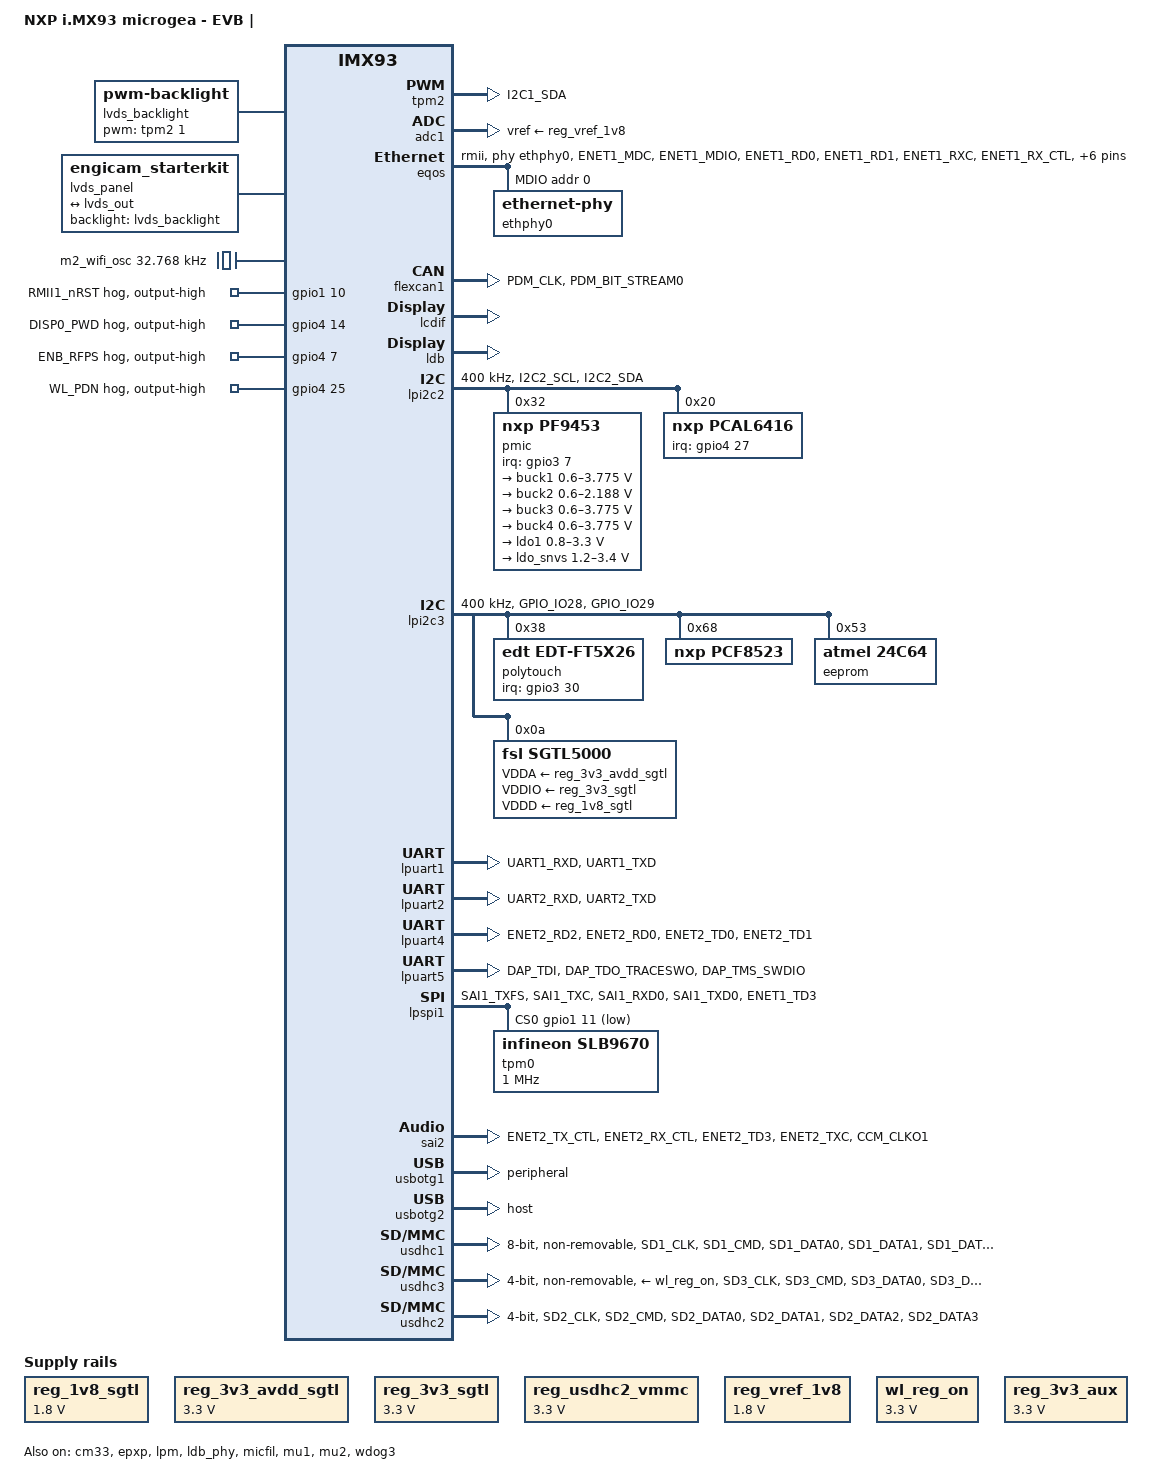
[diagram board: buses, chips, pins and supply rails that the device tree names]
// SPDX-License-Identifier: (GPL-2.0+ OR MIT)
/*
 * Copyright 2022 NXP
 */

/dts-v1/;

#include <dt-bindings/net/mxl-8611x.h>
#include <dt-bindings/usb/pd.h>
#include "../freescale/imx93.dtsi"
#include <dt-bindings/clock/imx93-clock.h>

&ele_fw2 {
	memory-region = <&ele_reserved>;
};

/ {
	model = "NXP i.MX93 microgea - EVB | ";
	compatible = "engi,imx93" ,"fsl,imx93";

	aliases {
		rtc1= &bbnsm_rtc;
	};

	chosen {
		stdout-path = &lpuart1;
	};

	ethosu {
		compatible = "arm,ethosu";
		fsl,cm33-proc = <&cm33>;
		memory-region = <&ethosu_mem>;
		power-domains = <&mlmix>;
	};

	lvds_backlight: lvds_backlight {
		compatible = "pwm-backlight";
		pwms = <&tpm2 1 100000 0>;
		brightness-levels = <0 100>;
		num-interpolated-steps = <100>;
		default-brightness-level = <80>;
	};

	lvds_panel {
		compatible = "engicam_starterkit";
		backlight = <&lvds_backlight>;

		port {
			panel_lvds_in: endpoint {
				remote-endpoint = <&lvds_out>;
			};
		};
	};

	reg_1v8_sgtl: reg_1v8_sgtl_regulator {
		compatible = "regulator-fixed";
		regulator-name = "1v8_sgtl";
		regulator-min-microvolt = <1800000>;
		regulator-max-microvolt = <1800000>;
		always-on;
	};

	reg_3v3_avdd_sgtl: reg_3v3_avdd_regulator {
		compatible = "regulator-fixed";
		regulator-name = "3v3_avdd_sgtl";
		regulator-min-microvolt = <3300000>;
		regulator-max-microvolt = <3300000>;
		always-on;
	};

	reg_3v3_sgtl: reg_3v3_sgtl_regulator {
		compatible = "regulator-fixed";
		regulator-name = "3v3_sgtl";
		regulator-min-microvolt = <3300000>;
		regulator-max-microvolt = <3300000>;
		always-on;
	};

	reg_usdhc2_vmmc: regulator-usdhc2 {
		compatible = "regulator-fixed";
		regulator-name = "VSD_3V3";
		regulator-min-microvolt = <3300000>;
		regulator-max-microvolt = <3300000>;
	};

	reg_vref_1v8: regulator-adc-vref {
		compatible = "regulator-fixed";
		regulator-name = "vref_1v8";
		regulator-min-microvolt = <1800000>;
		regulator-max-microvolt = <1800000>;
	};

	wl_reg_on: regulator-wlregon {
		compatible = "regulator-gpio";
		regulator-name = "WL_REG_ON";
		regulator-min-microvolt = <3300000>;
		regulator-max-microvolt = <3300000>;
		states = <3300000 0x1>,
				 <3300000 0x0>;
		gpios = <&gpio4 23 GPIO_ACTIVE_HIGH>;
		enable-active-high;
	};

	//wifi_pwrseq: wifi-pwrseq { /*WIFI/BT WL_REG_ON*/
    //    compatible = "mmc-pwrseq-simple";
    //    reset-gpios = <&gpio4 23 GPIO_ACTIVE_LOW>; /*EXPIO_1_1*/
    //    post-power-on-delay-ms = <500>;
    //};

	reg_3v3_aux: regulator-3v3aux {
		compatible = "regulator-gpio";
		regulator-name = "3v3_aux";
		regulator-min-microvolt = <3300000>;
		regulator-max-microvolt = <3300000>;
		states = <3300000 0x1>,
				 <3300000 0x0>;
		enable-active-high;
	};

	reserved-memory {
		#address-cells = <2>;
		#size-cells = <2>;
		ranges;

		linux,cma {
			compatible = "shared-dma-pool";
			reusable;
			alloc-ranges = <0 0x80000000 0 0x40000000>;
			size = <0 0x10000000>;
			linux,cma-default;
		};

		ethosu_mem: ethosu_region@C0000000 {
			compatible = "shared-dma-pool";
			reusable;
			reg = <0x0 0xC0000000 0x0 0x10000000>;
		};

		rsc_table: rsc-table@2021e000 {
			reg = <0 0x2021e000 0 0x1000>;
			no-map;
		};

		vdevbuffer: vdevbuffer@a4020000 {
			compatible = "shared-dma-pool";
			reg = <0 0xa4020000 0 0x100000>;
			no-map;
		};

		vdev0vring0: vdev0vring0@a4000000 {
			reg = <0 0xa4000000 0 0x8000>;
			no-map;
		};

		vdev0vring1: vdev0vring1@a4008000 {
			reg = <0 0xa4008000 0 0x8000>;
			no-map;
		};

		vdev1vring0: vdev1vring0@a4000000 {
			reg = <0 0xa4010000 0 0x8000>;
			no-map;
		};

		vdev1vring1: vdev1vring1@a4018000 {
			reg = <0 0xa4018000 0 0x8000>;
			no-map;
		};

		ele_reserved: ele-reserved@a4120000 {
			compatible = "shared-dma-pool";
			reg = <0 0xa4120000 0 0x100000>;
			no-map;
		};
	};

	sound {
		compatible = "simple-audio-card";
		simple-audio-card,name = "imx93-sgtl5000";
		simple-audio-card,format = "i2s";
		simple-audio-card,bitclock-master = <&dailink_master>;
		simple-audio-card,frame-master = <&dailink_master>;
		/*simple-audio-card,mclk-fs = <1>;*/
		simple-audio-card,cpu {
			sound-dai = <&sai2>;
		};

		dailink_master: simple-audio-card,codec {
			sound-dai = <&sgtl5000>;
			clocks = <&clk IMX93_CLK_SAI2_IPG>;
		};
	};

	m2_wifi_osc: m2-osc-fixed {
		compatible = "fixed-clock";
		#clock-cells = <0>;
		clocks = <&clk IMX93_CLK_CCM_CKO2>;
		clock-frequency = <32768>;
		status = "okay";
	};
};

&tpm2 {
	pinctrl-names = "default";
	pinctrl-0 = <&pinctrl_tpm2_ch1>;
	status = "okay";
};

&adc1 {
	vref-supply = <&reg_vref_1v8>;
	status = "okay";
};

&cm33 {
	mbox-names = "tx", "rx", "rxdb";
	mboxes = <&mu1 0 1
		  &mu1 1 1
		  &mu1 3 1>;
	memory-region = <&vdevbuffer>, <&vdev0vring0>, <&vdev0vring1>,
			<&vdev1vring0>, <&vdev1vring1>, <&rsc_table>;
	fsl,startup-delay-ms = <500>;
	status = "okay";
};

&cameradev {
	status = "disabled";
};

&eqos {
	pinctrl-names = "default";
	pinctrl-0 = <&pinctrl_eqos>;
	phy-mode = "rmii";
	phy-handle = <&ethphy0>;
	snps,rmii_refclk_ext;
	status = "okay";

	mdio {
		compatible = "snps,dwmac-mdio";
		#address-cells = <1>;
		#size-cells = <0>;
		clock-frequency = <5000000>;

		ethphy0: ethernet-phy@0 {
			reg = <0>;
		};
	};
};

&epxp {
	status = "okay";
};

&flexcan1 {
	pinctrl-names = "default";
	pinctrl-0 = <&pinctrl_flexcan1>;
	fsl,stop-mode = <&aonmix_ns_gpr 0x10 4>;
	status = "okay";
};

&isi_0 {
	status = "disabled";

	cap_device {
		status = "disabled";
	};
};

&lcdif {
	status = "okay";
	assigned-clock-rates = <498000000>, <71142857>, <400000000>, <133333333>;
};

&lpm {
	soc-supply = <&buck1>;
	status = "okay";
};

&ldb {
	status = "okay";

	lvds-channel@0 {
		status = "okay";

		port@1 {
			reg = <1>;

			lvds_out: endpoint {
				remote-endpoint = <&panel_lvds_in>;
			};
		};
	};
};

&ldb_phy {
	status = "okay";
};

&lpi2c2 {
	#address-cells = <1>;
	#size-cells = <0>;
	clock-frequency = <400000>;
	pinctrl-names = "default", "sleep";
	pinctrl-0 = <&pinctrl_lpi2c2>;
	pinctrl-1 = <&pinctrl_lpi2c2>;
	status = "okay";

	pmic@32 {
		compatible = "nxp,pf9453";
		pinctrl-names = "default";
		pinctrl-0 = <&pinctrl_pf9453>;
		reg = <0x32>;
		interrupt-parent = <&gpio3>;
		interrupts = <7 IRQ_TYPE_EDGE_FALLING>;

		regulators {
			buck1: BUCK1 {
				regulator-name = "BUCK1";
				regulator-min-microvolt = <600000>;
				regulator-max-microvolt = <3775000>;
				regulator-boot-on;
				regulator-always-on;
			};

			buck2: BUCK2 {
				regulator-name = "BUCK2";
				regulator-min-microvolt = <600000>;
				regulator-max-microvolt = <2187500>;
				regulator-boot-on;
				regulator-always-on;
				regulator-ramp-delay = <12500>;
			};

			buck3: BUCK3 {
				regulator-name = "BUCK3";
				regulator-min-microvolt = <600000>;
				regulator-max-microvolt = <3775000>;
				regulator-boot-on;
				regulator-always-on;
			};

			buck4: BUCK4{
				regulator-name = "BUCK4";
				regulator-min-microvolt = <600000>;
				regulator-max-microvolt = <3775000>;
				regulator-boot-on;
				regulator-always-on;
			};

			ldo1: LDO1 {
				regulator-name = "LDO1";
				regulator-min-microvolt = <800000>;
				regulator-max-microvolt = <3300000>;
				regulator-boot-on;
				regulator-always-on;
			};

			ldo_snvs: LDO_SNVS {
				regulator-name = "LDO_SNVS";
				regulator-min-microvolt = <1200000>;
				regulator-max-microvolt = <3400000>;
				regulator-boot-on;
				regulator-always-on;
			};
		};
	};

	pcal6416: gpio@20 {
		compatible = "nxp,pcal6416";
		pinctrl-names = "default";
		pinctrl-0 = <&pinctrl_pcal6416>;
		reg = <0x20>;
        interrupt-parent = <&gpio4>;
	    interrupts = <27 IRQ_TYPE_LEVEL_LOW>;
		interrupt-controller;
		#interrupt-cells = <2>;
		gpio-controller;
		#gpio-cells = <2>;
		gpio-line-names =
			"EXPIO_0_0", "EXPIO_0_1", "EXPIO_0_2", "EXPIO_0_3",
			"EXPIO_0_4", "EXPIO_0_5", "EXPIO_0_6", "EXPIO_0_7",
			"EXPIO_1_0", "EXPIO_1_1", "EXPIO_1_2", "EXPIO_1_3",
			"EXPIO_1_4", "EXPIO_1_5", "EXPIO_1_6", "EXPIO_1_7";

		EXPIO_0_1 {
			gpio-hog;
			gpios = <1 GPIO_ACTIVE_HIGH>;
			output-high;
			line-name = "ENABLE_12V";
		};

		EXPIO_0_3 {
			gpio-hog;
			gpios = <3 GPIO_ACTIVE_HIGH>;
			output-high;
			line-name = "ENABLE_3V3_LCD";
		};

		EXPIO_0_6 {
			gpio-hog;
			gpios = <6 GPIO_ACTIVE_HIGH>;
			output-high;
			line-name = "LCD_GPIO_RIS";
		};
	};
};

&lpi2c3 {
	#address-cells = <1>;
	#size-cells = <0>;
	clock-frequency = <400000>;
	pinctrl-names = "default";
	pinctrl-0 = <&pinctrl_lpi2c3>;
	status = "okay";

	polytouch: edt-ft5x26@38 {
		compatible = "edt,edt-ft5x26";
		reg = <0x38>;
		pinctrl-names = "default";
		pinctrl-0 = <&pinctrl_edtft5x06>;
		interrupt-parent = <&gpio3>;
		interrupts = <30 IRQ_TYPE_EDGE_FALLING>;
	};

	pcf8523: rtc@68 {
		compatible = "nxp,pcf8523";
		reg = <0x68>;
	};

	eeprom@53 {
		compatible = "atmel,24c64";
		reg = <0x53>;
		pagesize = <64>;
	};

	sgtl5000: codec@a {
		compatible = "fsl,sgtl5000";
		status = "okay";
		#sound-dai-cells = <0>;
		reg = <0x0a>;
		clocks = <&clk IMX93_CLK_SAI2_GATE>;
		clock-names = "mclk";
		assigned-clock-rates = <24000000>, <24000000>;
		VDDA-supply = <&reg_3v3_avdd_sgtl>;
		VDDIO-supply = <&reg_3v3_sgtl>;
		VDDD-supply = <&reg_1v8_sgtl>;
	};
};

&lpuart1 { /* console */
	pinctrl-names = "default";
	pinctrl-0 = <&pinctrl_uart1>;
	status = "okay";
};

&lpuart2 { /* rs232 */
	pinctrl-names = "default";
	pinctrl-0 = <&pinctrl_uart2>;
	status = "okay";
};

&lpuart4 { /* BT */
	pinctrl-names = "default";
	pinctrl-0 = <&pinctrl_uart4>;
	uart-has-rtscts;
	status = "okay";
};

&lpuart5 { /* RS485 */
	pinctrl-names = "default";
	pinctrl-0 = <&pinctrl_uart5>;
	status = "okay";
};

&lpspi1 {
	fsl,spi-num-chipselects = <1>;
	pinctrl-names = "default";
	pinctrl-0 = <&pinctrl_lpspi1>;
	cs-gpios = <&gpio1 11 GPIO_ACTIVE_LOW>;
	pinctrl-assert-gpios = <&gpio4 2 GPIO_ACTIVE_HIGH>;
	status = "okay";
	/delete-property/ dmas;
	/delete-property/ dma-names;

	tpm0: slb9670@0 {
		reg = <0>;
		compatible = "infineon,slb9670";
		spi-max-frequency = <1000000>;
	};
};

&micfil {
	#sound-dai-cells = <0>;
	pinctrl-names = "default";
	assigned-clocks = <&clk IMX93_CLK_PDM>;
	assigned-clock-parents = <&clk IMX93_CLK_AUDIO_PLL>;
	assigned-clock-rates = <196608000>;
	status = "okay";
};

&mu1 {
	status = "okay";
};

&mu2 {
	status = "okay";
};

&sai2 {
	#sound-dai-cells = <0>;
	pinctrl-names = "default";
	pinctrl-0 = <&pinctrl_sai2>;
	assigned-clocks = <&clk IMX93_CLK_SAI2>;
	assigned-clock-parents = <&clk IMX93_CLK_AUDIO_PLL>;
	assigned-clock-rates = <24576000>;
	fsl,sai-mclk-direction-output;
	status = "okay";
};

&usbotg1 {
	dr_mode = "peripheral";
	status = "okay";
};

&usbotg2 {
	dr_mode = "host";
	status = "okay";
};

&usdhc1 {
	pinctrl-names = "default";
	pinctrl-0 = <&pinctrl_usdhc1>;
	bus-width = <8>;
	no-1-8-v;
	no-mmc-hs400;
	non-removable;
	status = "okay";
};

&usdhc3 {/* WiFi*/
	pinctrl-names = "default";
    pinctrl-0 = <&pinctrl_usdhc3>, <&pinctrl_panasonic>;
	bus-width = <4>;
	vmmc-supply = <&wl_reg_on>;
	pm-ignore-notify;
	keep-power-in-suspend;
	non-removable;
	max-frequency = <25000000>;
	status = "okay";
};

&usdhc2 {/* SD card*/
	pinctrl-names = "default";
	pinctrl-0 = <&pinctrl_usdhc2>;
	bus-width = <4>;
	broken-cd;
	no-1-8-v;
	max-frequency = <25000000>;
	status = "okay";
};

&wdog3 {
	status = "okay";
};

&iomuxc {

	pinctrl_eqos: eqosgrp {
		fsl,pins = <
			MX93_PAD_ENET1_MDC__ENET_QOS_MDC                        0x1e
			MX93_PAD_ENET1_MDIO__ENET_QOS_MDIO                      0x1e
			MX93_PAD_ENET1_RD0__ENET_QOS_RGMII_RD0                  0x1e
			MX93_PAD_ENET1_RD1__ENET_QOS_RGMII_RD1                  0x1e
			MX93_PAD_ENET1_RXC__ENET_QOS_RX_ER						0x1e
			MX93_PAD_ENET1_RX_CTL__ENET_QOS_RGMII_RX_CTL            0x1e
			MX93_PAD_ENET1_TD0__ENET_QOS_RGMII_TD0                  0x1e
			MX93_PAD_ENET1_TD1__ENET_QOS_RGMII_TD1                  0x1e
			MX93_PAD_ENET1_TD2__CCM_ENET_QOS_CLOCK_GENERATE_REF_CLK 0x1e
			MX93_PAD_ENET1_TX_CTL__ENET_QOS_RGMII_TX_CTL            0x1e
			MX93_PAD_PDM_BIT_STREAM1__GPIO1_IO10					0x1e
			MX93_PAD_ENET1_RD2__GPIO4_IO12							0x1e
		>;
	};

	pinctrl_edtft5x06: edtft5x06-grp{
		fsl,pins = <
			MX93_PAD_DAP_TCLK_SWCLK__GPIO3_IO30	0x31e	/* INT */
		>;
	};

	pinctrl_flexcan1: flexcan1grp {
		fsl,pins = <
			MX93_PAD_PDM_CLK__CAN1_TX	0x139e
			MX93_PAD_PDM_BIT_STREAM0__CAN1_RX	0x139e
		>;
	};

	pinctrl_lpi2c2: lpi2c2grp {
		fsl,pins = <
			MX93_PAD_I2C2_SCL__LPI2C2_SCL			0x40000b9e
			MX93_PAD_I2C2_SDA__LPI2C2_SDA			0x40000b9e
		>;
	};

	pinctrl_lpi2c3: lpi2c3grp {
		fsl,pins = <
			MX93_PAD_GPIO_IO28__LPI2C3_SDA			0x40000b9e
			MX93_PAD_GPIO_IO29__LPI2C3_SCL			0x40000b9e
		>;
	};

	pinctrl_lpspi1: lpspi1grp {
		fsl,pins = <
			MX93_PAD_SAI1_TXFS__GPIO1_IO11		0x3fe /* SPI_SS0 */
			MX93_PAD_SAI1_TXC__LPSPI1_SIN		0x3fe /* SPI_MISO */
			MX93_PAD_SAI1_RXD0__LPSPI1_SOUT		0x3fe /* SPI_MOSI */
			MX93_PAD_SAI1_TXD0__LPSPI1_SCK		0x3fe /* SPI_CLK */
			MX93_PAD_ENET1_TD3__GPIO4_IO02		0x3fe /* TPM_RST */
		>;
	};

	pinctrl_pcal6416: pcal6416grp {
		fsl,pins = <
			MX93_PAD_ENET2_RD3__GPIO4_IO27			0x31e /* INTERRUPT */
			MX93_PAD_SD1_STROBE__GPIO3_IO18			0x31e /* RESET */
		>;
	};

	pinctrl_pf9453: pf9453grp {
		fsl,pins = <
			MX93_PAD_SD2_RESET_B__GPIO3_IO07				0x1e
		>;
	};

	pinctrl_sai2: sai1grp {
		fsl,pins = <
			MX93_PAD_ENET2_TX_CTL__SAI2_TX_SYNC		0x31e
			MX93_PAD_ENET2_RX_CTL__SAI2_TX_DATA00	0x31e
			MX93_PAD_ENET2_TD3__SAI2_RX_DATA00		0x31e
			MX93_PAD_ENET2_TXC__SAI2_TX_BCLK		0x31e
			MX93_PAD_CCM_CLKO1__CCMSRCGPCMIX_CLKO1 	0x31e
		>;
	};

	pinctrl_tpm2_ch1: tpm2ch1grp {
		fsl,pins = <
			MX93_PAD_I2C1_SDA__TPM2_CH1	0x31e
		>;
	};

	pinctrl_uart1: uart1grp {
		fsl,pins = <
			MX93_PAD_UART1_RXD__LPUART1_RX			0x31e
			MX93_PAD_UART1_TXD__LPUART1_TX			0x31e
		>;
	};

	pinctrl_uart2: uart2grp {
		fsl,pins = <
			MX93_PAD_UART2_RXD__LPUART2_RX			0x31e
			MX93_PAD_UART2_TXD__LPUART2_TX			0x31e
		>;
	};

	pinctrl_uart4: uart4grp {
		fsl,pins = <
			MX93_PAD_ENET2_RD2__LPUART4_CTS_B	0x31e
			MX93_PAD_ENET2_RD0__LPUART4_RX		0x31e
			MX93_PAD_ENET2_TD0__LPUART4_TX		0x31e
			MX93_PAD_ENET2_TD1__LPUART4_RTS_B	0x31e
		>;
	};

	pinctrl_uart5: uart5grp {
		fsl,pins = <
			MX93_PAD_DAP_TDI__LPUART5_RX			0x31e
			MX93_PAD_DAP_TDO_TRACESWO__LPUART5_TX	0x31e
			MX93_PAD_DAP_TMS_SWDIO__LPUART5_RTS_B	0x31e
		>;
	};

	pinctrl_usdhc1: usdhc1grp {
		fsl,pins = <
			MX93_PAD_SD1_CLK__USDHC1_CLK		0x15fe
			MX93_PAD_SD1_CMD__USDHC1_CMD		0x13fe
			MX93_PAD_SD1_DATA0__USDHC1_DATA0	0x13fe
			MX93_PAD_SD1_DATA1__USDHC1_DATA1	0x13fe
			MX93_PAD_SD1_DATA2__USDHC1_DATA2	0x13fe
			MX93_PAD_SD1_DATA3__USDHC1_DATA3	0x13fe
			MX93_PAD_SD1_DATA4__USDHC1_DATA4	0x13fe
			MX93_PAD_SD1_DATA5__USDHC1_DATA5	0x13fe
			MX93_PAD_SD1_DATA6__USDHC1_DATA6	0x13fe
			MX93_PAD_SD1_DATA7__USDHC1_DATA7	0x13fe
		>;
	};

	pinctrl_usdhc2: usdhc2grp {
		fsl,pins = <
			MX93_PAD_SD2_CLK__USDHC2_CLK			0x170e
			MX93_PAD_SD2_CMD__USDHC2_CMD			0x130e
			MX93_PAD_SD2_DATA0__USDHC2_DATA0		0x130e
			MX93_PAD_SD2_DATA1__USDHC2_DATA1        0x130e
			MX93_PAD_SD2_DATA2__USDHC2_DATA2        0x130e
			MX93_PAD_SD2_DATA3__USDHC2_DATA3        0x130e
		>;
	};

	pinctrl_usdhc2_100mhz: usdhc2-100mhzgrp {
    fsl,pins = <
        MX93_PAD_SD2_CLK__USDHC2_CLK            0x174e
        MX93_PAD_SD2_CMD__USDHC2_CMD            0x134e
        MX93_PAD_SD2_DATA0__USDHC2_DATA0        0x134e
        MX93_PAD_SD2_DATA1__USDHC2_DATA1        0x134e
        MX93_PAD_SD2_DATA2__USDHC2_DATA2        0x134e
        MX93_PAD_SD2_DATA3__USDHC2_DATA3        0x134e
    >;
};

	/* SDR104 - 200MHz */
	pinctrl_usdhc2_200mhz: usdhc2-200mhzgrp {
		fsl,pins = <
			MX93_PAD_SD2_CLK__USDHC2_CLK            0x178e
			MX93_PAD_SD2_CMD__USDHC2_CMD            0x138e
			MX93_PAD_SD2_DATA0__USDHC2_DATA0        0x138e
			MX93_PAD_SD2_DATA1__USDHC2_DATA1        0x138e
			MX93_PAD_SD2_DATA2__USDHC2_DATA2        0x138e
			MX93_PAD_SD2_DATA3__USDHC2_DATA3        0x138e
		>;
	};

	pinctrl_panasonic: panasonicdgrp {
		fsl,pins = <
			MX93_PAD_ENET1_TXC__GPIO4_IO07	0x31e /* ENB_RFPS */
			MX93_PAD_ENET2_RXC__GPIO4_IO23	0x31e /* ENB_WIFI_BLT */
			MX93_PAD_ENET2_RD1__GPIO4_IO25	0x31e /* WL_PDN */
			MX93_PAD_CCM_CLKO2__CCMSRCGPCMIX_CLKO2  0x31e /* SUSCLK_KEYE */
		>;
	};

	pinctrl_usdhc3: usdhc3grp {
		fsl,pins = <
			MX93_PAD_SD3_CLK__USDHC3_CLK			0x17fe
			MX93_PAD_SD3_CMD__USDHC3_CMD			0x13fe
			MX93_PAD_SD3_DATA0__USDHC3_DATA0		0x13fe
			MX93_PAD_SD3_DATA1__USDHC3_DATA1        0x13fe
			MX93_PAD_SD3_DATA2__USDHC3_DATA2        0x13fe
			MX93_PAD_SD3_DATA3__USDHC3_DATA3        0x13fe
		>;
	};
};

&gpio1 {
	gpio-line-names =
		"", "", "", "", "", "", "", "",
		"", "", "RMII1_nRST", "", "", "", "", "",
		"", "", "", "", "", "", "", "",
		"", "", "", "", "", "", "", "";
		RMII1_nRST {
			gpio-hog;
			gpios = <10 0>;
			output-high;
		};
};

&gpio4 {
	gpio-line-names =
		"", "", "", "", "", "", "", "ENB_RFPS",
		"", "", "", "", "", "", "DISP0_PWD", "",
		"", "", "", "", "", "", "", "",
		"", "WL_PDN", "", "", "", "", "", "";
		DISP0_PWD {
			gpio-hog;
			gpios = <14 0>;
			output-high;
		};

		ENB_RFPS {
			gpio-hog;
			gpios = <7 0>;
			output-high;
		};

		WL_PDN {
			gpio-hog;
			gpios = <25 0>;
			output-high;
		};
}; 
